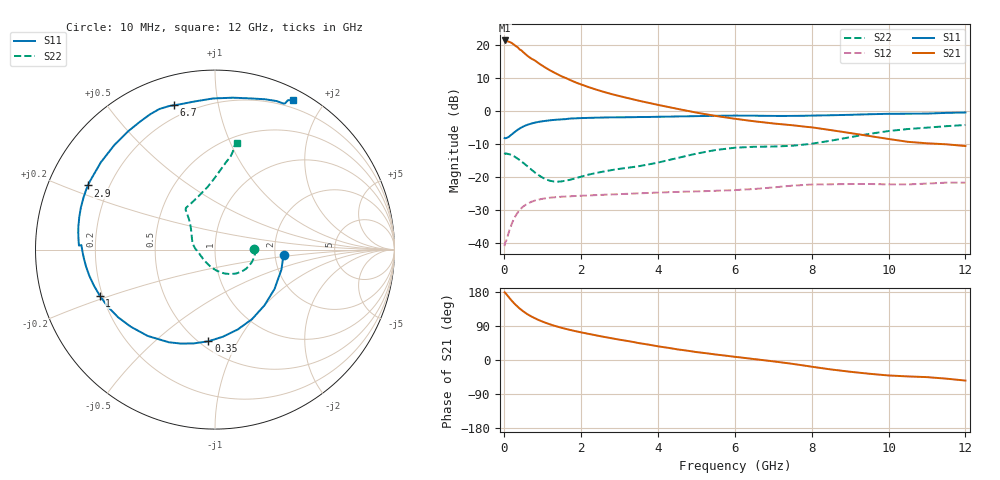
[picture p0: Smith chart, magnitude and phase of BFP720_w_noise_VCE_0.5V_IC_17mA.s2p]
! Infineon Technologies  Discrete & RF Semiconductors
! BFP720
! VCE =  0.5 V,  IC =  17 mA
! Common Emitter S-Parameters:  Aug 2012
# GHz  S  MA  R  50
!  f  S11  S21  S12  S22
! GHz  MAG  ANG  MAG  ANG  MAG  ANG  MAG  ANG
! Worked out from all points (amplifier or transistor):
!   105 points, 10 MHz to 12 GHz, reference 50 ohm
!   highest |S21| = 21.3 dB at 10 MHz (marker M1)
!   |S21| within 3 dB of that: start of sweep to 443 MHz
!   unconditionally stable (mu >= 1): start of sweep to end of sweep
!   at 300 MHz: K = 1.56, MAG = 21.3 dB, |S12| = -31.8 dB
!   at 3.6 GHz: K = 2.37, MAG = 7.3 dB, |S12| = -25.0 dB
!   at 12 GHz: K = 2.04, MAG = -0.3 dB, |S12| = -21.9 dB
!   lowest NFmin = 0.67 dB at 450 MHz
!   S11 on the Smith chart (normalised r, x): 10 MHz: 2.23, -0.15; 350 MHz: 0.55, -0.76; 1 GHz: 0.19, -0.19; 2.9 GHz: 0.12, +0.23; 6.7 GHz: 0.14, +0.75; 12 GHz: 0.12, +1.64
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0.01  0.3841 -4.3  11.62 178.7  0.0088 6.6  0.2169 1.2
0.1  0.3976 -33.4  11.21 168.2  0.0131 33.5  0.2205 -12.6
0.15  0.4153 -48.4  10.97 161.9  0.0162 40.1  0.2169 -18.9
0.2  0.4388 -61.9  10.58 155.9  0.0194 43.0  0.2106 -25.1
0.25  0.4627 -74.1  10.07 150.4  0.0227 43.9  0.2041 -31.1
0.35  0.5121 -94.1  9.172 140.6  0.0285 42.3  0.1867 -42.3
0.4  0.5357 -102.7  8.508 135.9  0.031 40.6  0.1787 -48.1
0.45  0.5566 -109.8  8.179 132.0  0.0333 39.0  0.1681 -53.3
0.6  0.6101 -128.0  6.819 121.1  0.0387 34.0  0.1439 -68.0
0.7  0.6361 -137.5  6.187 115.2  0.0413 31.0  0.1284 -77.5
0.8  0.6586 -145.1  5.759 110.1  0.0433 28.3  0.1154 -87.3
1  0.6915 -158.2  4.778 101.2  0.0461 23.8  0.0963 -106.7
1.2  0.715 -168.1  4.063 93.8  0.0479 20.4  0.0862 -126.3
1.4  0.7317 -175.9  3.537 87.6  0.049 17.9  0.0838 -143.8
2.1  0.7742 168.5  2.384 70.9  0.0515 13.0  0.1034 -178.5
2.9  0.7927 153.2  1.721 55.4  0.0539 10.0  0.1283 164.6
4.1  0.8092 132.4  1.191 34.6  0.0575 6.3  0.1683 142.0
6.1  0.8416 110.8  0.741 7.3  0.0629 2.1  0.2759 126.3
6.7  0.8362 105.9  0.67 0.1  0.0662 1.3  0.2843 123.4
8.5  0.8522 83.3  0.507 -24.9  0.0765 -10.0  0.3506 96.9
10.5  0.8987 64.9  0.337 -43.3  0.0761 -19.2  0.5264 80.5
12  0.9383 62.5  0.291 -54.3  0.0808 -26.6  0.6064 78.6
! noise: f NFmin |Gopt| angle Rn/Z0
0.45  0.67  0.19  1  0.39
1.8  0.74  0.2  11  0.14
2.4  0.79  0.19  17  0.43
5.5  1.01  0.11  -46  0.18
10  1.18  0.45  -73  0.29
